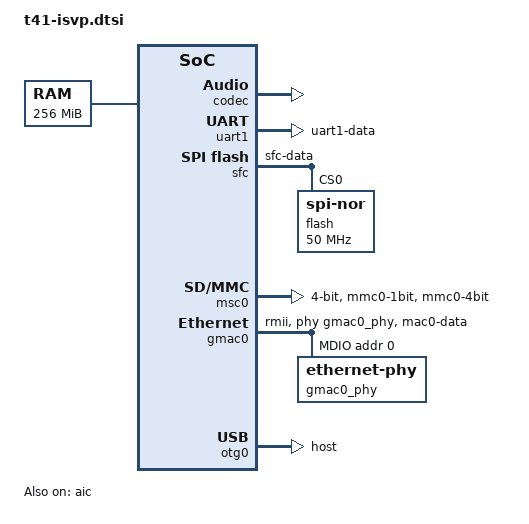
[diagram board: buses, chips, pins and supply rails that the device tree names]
// SPDX-License-Identifier: GPL-2.0+
/*
 * Ingenic ISVP-T41 SFC-NOR board body, shared by every T41 SKU.
 * The per-SKU leaf .dts (t41nq-isvp.dts, t41lq-isvp.dts, ...) includes
 * this file and sets the per-SKU compatible on &ddr - the only thing
 * that differs between SKUs is the soldered DDR part (DDR2 vs DDR3).
 */

#include <dt-bindings/clock/ingenic,t41-cgu.h>
#include <dt-bindings/gpio/gpio.h>

/ {
	compatible = "ingenic,t41";
	#address-cells = <1>;
	#size-cells = <1>;

	aliases {
		serial1 = &uart1;
	};

	chosen {
		stdout-path = "serial1:115200n8";
	};

	memory@0 {
		device_type = "memory";
		reg = <0x0 0x10000000>;
	};

	/*
	 * DDR controller + Innophy PHY. ddr_innophy.c picks the per-SKU
	 * timing/type table from the &ddr node's compatible (set by the
	 * leaf .dts). SPL probes this off DT and runs sdram_init() with
	 * hardware DQS calibration enabled.
	 */
	ddr: memory-controller@b34f0000 {
		reg = <0xb34f0000 0x3000>;
		/* compatible is set by the per-SKU leaf .dts. */
		bootph-all;
	};

	cgu: clock-controller@b0000000 {
		compatible = "ingenic,t41-cgu";
		reg = <0xb0000000 0x1000>;
		#clock-cells = <1>;
		bootph-all;
	};

	pinctrl: pinctrl@b0010000 {
		compatible = "ingenic,t41-pinctrl";
		reg = <0xb0010000 0x8000>;
		#address-cells = <1>;
		#size-cells = <0>;
		bootph-all;

		gpa: gpio@0 {
			compatible = "ingenic,t41-gpio";
			reg = <0>;
			gpio-controller;
			#gpio-cells = <2>;
			bootph-all;
		};

		gpb: gpio@1 {
			compatible = "ingenic,t41-gpio";
			reg = <1>;
			gpio-controller;
			#gpio-cells = <2>;
			bootph-all;
		};

		gpc: gpio@2 {
			compatible = "ingenic,t41-gpio";
			reg = <2>;
			gpio-controller;
			#gpio-cells = <2>;
			bootph-all;
		};

		gpd: gpio@3 {
			compatible = "ingenic,t41-gpio";
			reg = <3>;
			gpio-controller;
			#gpio-cells = <2>;
			bootph-all;
		};

		gpe: gpio@4 {
			compatible = "ingenic,t41-gpio";
			reg = <4>;
			gpio-controller;
			#gpio-cells = <2>;
			bootph-all;
		};

		pins_uart1: uart1 {
			function = "uart1";
			groups = "uart1-data";
			bootph-all;
		};

		pins_sfc: sfc {
			function = "sfc";
			groups = "sfc-data";
			bootph-all;
		};

		pins_mac0: mac0 {
			function = "mac0";
			groups = "mac0-data";
		};

		pins_mmc0: mmc0 {
			function = "mmc0";
			groups = "mmc0-1bit", "mmc0-4bit";
		};
	};

	/*
	 * AIC (audio interface controller) + on-chip codec. PIO playback
	 * driven by U-Boot's `sound` command. T41 codec is the "E-block":
	 * registers were renamed/relaid from T40's D-block (no _XX suffix,
	 * new CDCFGR/CACR1, DAC analog path on CANACR1/CHR/CHPOUTLGR).
	 * AIC IP is closer to T31/T32 - no AICCR1/AICCR2 extension that
	 * T40 has; AICFR uses RMASTER/TMASTER (T32-style) for master sel.
	 */
	aic: audio-controller@b0020000 {
		compatible = "ingenic,t41-aic";
		reg = <0xb0020000 0x100>;
		clocks = <&cgu T41_CLK_APLL>;
		clock-names = "apll";
		#sound-dai-cells = <0>;
		status = "okay";
	};

	codec: audio-codec@b0021000 {
		compatible = "ingenic,t41-codec";
		reg = <0xb0021000 0x130>;
		#sound-dai-cells = <0>;
		/* Speaker-amp enable: vendor codec.c default PB31,
		 * active-high. Override per board if the amp is on a
		 * different pin/polarity. */
		ingenic,spk-gpio = <&gpb 31 GPIO_ACTIVE_HIGH>;
		status = "okay";
	};

	sound: sound {
		compatible = "ingenic,t41-sound";
		status = "okay";

		cpu {
			sound-dai = <&aic>;
		};

		codec {
			sound-dai = <&codec>;
		};
	};

	uart1: serial@b0031000 {
		compatible = "ingenic,jz4780-uart", "ns16550a";
		reg = <0xb0031000 0x100>;
		reg-shift = <2>;
		clock-frequency = <24000000>;
		pinctrl-names = "default";
		pinctrl-0 = <&pins_uart1>;
		bootph-all;
		status = "okay";
	};

	/*
	 * TCU (timer/counter unit) container mirroring T31's binding. U-Boot
	 * only needs the watchdog child for sysreset; the WDT self-clocks
	 * from the 32 kHz RTC so the TCU clock provider is not required.
	 */
	tcu: timer@b0002000 {
		compatible = "ingenic,t41-tcu", "ingenic,jz4760-tcu",
			     "simple-mfd";
		reg = <0xb0002000 0x1000>;
		#address-cells = <1>;
		#size-cells = <1>;
		ranges = <0x0 0xb0002000 0x1000>;

		watchdog: watchdog@0 {
			compatible = "ingenic,t41-watchdog",
				     "ingenic,jz4780-watchdog";
			reg = <0x0 0x10>;
		};
	};

	sfc: spi@b3440000 {
		compatible = "ingenic,t41-sfc";
		reg = <0xb3440000 0x10000>;
		#address-cells = <1>;
		#size-cells = <0>;
		clocks = <&cgu T41_CLK_SFC>;
		pinctrl-names = "default";
		pinctrl-0 = <&pins_sfc>;
		spi-max-frequency = <50000000>;
		bootph-all;
		status = "okay";

		flash@0 {
			compatible = "jedec,spi-nor";
			reg = <0>;
			spi-max-frequency = <50000000>;
			bootph-all;
		};
	};

	msc0: mmc@b3060000 {
		compatible = "ingenic,t41-mmc";
		reg = <0xb3060000 0x10000>;
		clocks = <&cgu T41_CLK_MSC0>;
		clock-names = "mmc";
		bus-width = <4>;
		broken-cd;
		pinctrl-names = "default";
		pinctrl-0 = <&pins_mmc0>;
		status = "okay";
	};

	gmac0: ethernet@b34b0000 {
		compatible = "ingenic,t41-gmac";
		reg = <0xb34b0000 0x2000>;
		clocks = <&cgu T41_CLK_GMAC0>;
		phy-mode = "rmii";
		phy-handle = <&gmac0_phy>;
		ingenic,mode-reg = <0xb00000e8>;
		max-speed = <100>;
		macphy-rate = <50000000>;
		pinctrl-names = "default";
		pinctrl-0 = <&pins_mac0>;
		status = "okay";

		mdio {
			#address-cells = <1>;
			#size-cells = <0>;

			gmac0_phy: ethernet-phy@0 {
				reg = <0>;
			};
		};
	};

	/*
	 * T41 has a single DWC2 USB OTG at 0xb3500000 (XBurst2 layout shared
	 * with T40 / A1). NOR-boot DT runs the port as a USB host so the
	 * board can enumerate ASIX-style USB ethernet without DFU.
	 */
	otg0: usb@b3500000 {
		compatible = "snps,dwc2";
		reg = <0xb3500000 0x40000>;
		clocks = <&cgu T41_CLK_OTG0>;
		dr_mode = "host";
		/* Same CONIDSTS=1 quirk as T40: the OTG port enumerates as a
		 * B-device even on A-receptacle wiring, so the dwc2 host
		 * driver never powers the port. hnp-srp-disable forces
		 * GUSBCFG.FORCEHOSTMODE, bypassing the ID-pin check. */
		hnp-srp-disable;
		status = "okay";
	};
};
